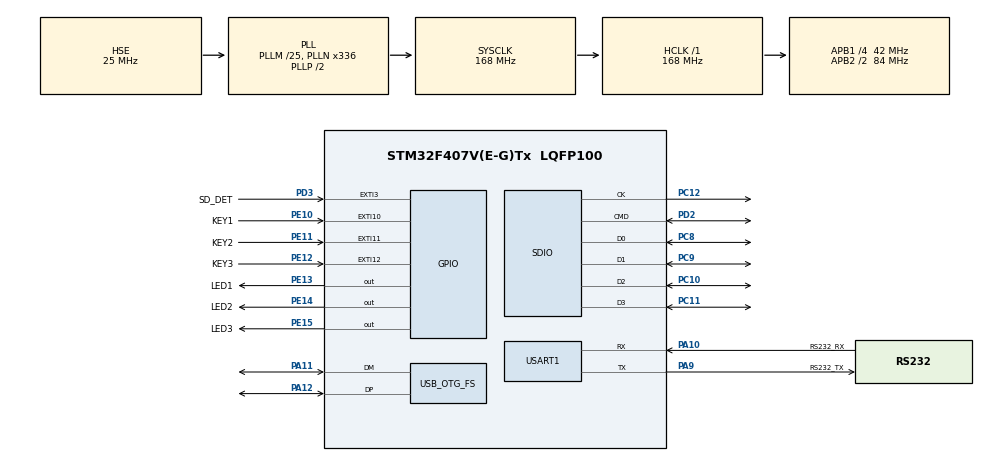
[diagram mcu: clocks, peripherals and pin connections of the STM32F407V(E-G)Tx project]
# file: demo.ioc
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Dma.Request0=USART1_RX
Dma.Request1=USART1_TX
Dma.USART1_RX.0.Direction=DMA_PERIPH_TO_MEMORY
Dma.USART1_RX.0.FIFOMode=DMA_FIFOMODE_DISABLE
Dma.USART1_RX.0.Instance=DMA2_Stream5
Dma.USART1_RX.0.MemDataAlignment=DMA_MDATAALIGN_BYTE
Dma.USART1_RX.0.MemInc=DMA_MINC_ENABLE
Dma.USART1_RX.0.Mode=DMA_CIRCULAR
Dma.USART1_RX.0.PeriphDataAlignment=DMA_PDATAALIGN_BYTE
Dma.USART1_RX.0.PeriphInc=DMA_PINC_DISABLE
Dma.USART1_RX.0.Priority=DMA_PRIORITY_LOW
Dma.USART1_TX.1.Direction=DMA_MEMORY_TO_PERIPH
Dma.USART1_TX.1.FIFOMode=DMA_FIFOMODE_DISABLE
Dma.USART1_TX.1.Instance=DMA2_Stream7
Dma.USART1_TX.1.MemDataAlignment=DMA_MDATAALIGN_BYTE
Dma.USART1_TX.1.MemInc=DMA_MINC_ENABLE
Dma.USART1_TX.1.Mode=DMA_NORMAL
Dma.USART1_TX.1.PeriphDataAlignment=DMA_PDATAALIGN_BYTE
Dma.USART1_TX.1.PeriphInc=DMA_PINC_DISABLE
Dma.USART1_TX.1.Priority=DMA_PRIORITY_LOW
FATFS.USE_DMA_CODE_SD=0
FATFS._FS_LOCK=0
FATFS._FS_RPATH=2
FATFS._USE_STRFUNC=2
Mcu.Family=STM32F4
Mcu.Name=STM32F407V(E-G)Tx
Mcu.Package=LQFP100
NVIC.DMA2_Stream5_IRQn=true\:0\:0\:false\:false\:true\:false\:true\:true
NVIC.DMA2_Stream7_IRQn=true\:0\:0\:false\:false\:true\:false\:true\:true
NVIC.OTG_FS_IRQn=true\:0\:0\:false\:false\:true\:false\:true\:true
NVIC.PriorityGroup=NVIC_PRIORITYGROUP_4
NVIC.USART1_IRQn=true\:0\:0\:false\:false\:true\:true\:true\:true
PA10.GPIO_Label=RS232_RX
PA10.Mode=Asynchronous
PA10.Signal=USART1_RX
PA11.Mode=Device_Only
PA11.Signal=USB_OTG_FS_DM
PA12.Mode=Device_Only
PA12.Signal=USB_OTG_FS_DP
PA13.Mode=Serial_Wire
PA13.Signal=SYS_JTMS-SWDIO
PA14.Mode=Serial_Wire
PA14.Signal=SYS_JTCK-SWCLK
PA9.GPIO_Label=RS232_TX
PA9.Mode=Asynchronous
PA9.Signal=USART1_TX
PC10.GPIO_Mode=GPIO_MODE_AF_PP
PC10.GPIO_PuPd=GPIO_PULLUP
PC10.GPIO_Speed_High_Default=GPIO_SPEED_FREQ_VERY_HIGH
PC10.Mode=SD_4_bits_Wide_bus
PC10.Signal=SDIO_D2
PC11.GPIO_Mode=GPIO_MODE_AF_PP
PC11.GPIO_PuPd=GPIO_PULLUP
PC11.GPIO_Speed_High_Default=GPIO_SPEED_FREQ_VERY_HIGH
PC11.Mode=SD_4_bits_Wide_bus
PC11.Signal=SDIO_D3
PC12.GPIO_Mode=GPIO_MODE_AF_PP
PC12.GPIO_PuPd=GPIO_PULLUP
PC12.GPIO_Speed_High_Default=GPIO_SPEED_FREQ_VERY_HIGH
PC12.Mode=SD_4_bits_Wide_bus
PC12.Signal=SDIO_CK
PC8.GPIO_Mode=GPIO_MODE_AF_PP
PC8.GPIO_PuPd=GPIO_PULLUP
PC8.GPIO_Speed_High_Default=GPIO_SPEED_FREQ_VERY_HIGH
PC8.Mode=SD_4_bits_Wide_bus
PC8.Signal=SDIO_D0
PC9.GPIO_Mode=GPIO_MODE_AF_PP
PC9.GPIO_PuPd=GPIO_PULLUP
PC9.GPIO_Speed_High_Default=GPIO_SPEED_FREQ_VERY_HIGH
PC9.Mode=SD_4_bits_Wide_bus
PC9.Signal=SDIO_D1
PD2.GPIO_Mode=GPIO_MODE_AF_PP
PD2.GPIO_PuPd=GPIO_PULLUP
PD2.GPIO_Speed_High_Default=GPIO_SPEED_FREQ_VERY_HIGH
PD2.Mode=SD_4_bits_Wide_bus
PD2.Signal=SDIO_CMD
PD3.GPIO_Label=SD_DET
PD3.Signal=GPXTI3
PE10.GPIO_Label=KEY1
PE10.GPIO_PuPd=GPIO_PULLUP
PE10.Signal=GPXTI10
PE11.GPIO_Label=KEY2
PE11.GPIO_PuPd=GPIO_PULLUP
PE11.Signal=GPXTI11
PE12.GPIO_Label=KEY3
PE12.GPIO_PuPd=GPIO_PULLUP
PE12.Signal=GPXTI12
PE13.GPIO_Label=LED1
PE13.GPIO_ModeDefaultOutputPP=GPIO_MODE_OUTPUT_PP
PE13.GPIO_PuPd=GPIO_PULLUP
PE13.GPIO_Speed=GPIO_SPEED_FREQ_HIGH
PE13.PinState=GPIO_PIN_SET
PE13.Signal=GPIO_Output
PE14.GPIO_Label=LED2
PE14.GPIO_ModeDefaultOutputPP=GPIO_MODE_OUTPUT_PP
PE14.GPIO_PuPd=GPIO_PULLUP
PE14.GPIO_Speed=GPIO_SPEED_FREQ_HIGH
PE14.PinState=GPIO_PIN_SET
PE14.Signal=GPIO_Output
PE15.GPIO_Label=LED3
PE15.GPIO_ModeDefaultOutputPP=GPIO_MODE_OUTPUT_PP
PE15.GPIO_PuPd=GPIO_PULLUP
PE15.GPIO_Speed=GPIO_SPEED_FREQ_HIGH
PE15.PinState=GPIO_PIN_SET
PE15.Signal=GPIO_Output
PH0-OSC_IN.Mode=HSE-External-Oscillator
PH0-OSC_IN.Signal=RCC_OSC_IN
PH1-OSC_OUT.Mode=HSE-External-Oscillator
PH1-OSC_OUT.Signal=RCC_OSC_OUT
ProjectManager.HeapSize=0x200
ProjectManager.StackSize=0x400
ProjectManager.TargetToolchain=MDK-ARM V5
RCC.48MHZClocksFreq_Value=48000000
RCC.AHBFreq_Value=168000000
RCC.APB1CLKDivider=RCC_HCLK_DIV4
RCC.APB1Freq_Value=42000000
RCC.APB1TimFreq_Value=84000000
RCC.APB2CLKDivider=RCC_HCLK_DIV2
RCC.APB2Freq_Value=84000000
RCC.APB2TimFreq_Value=168000000
RCC.CortexFreq_Value=168000000
RCC.HCLKFreq_Value=168000000
RCC.HSE_VALUE=25000000
RCC.HSI_VALUE=16000000
RCC.LSE_VALUE=32768
RCC.PLLM=25
RCC.PLLN=336
RCC.PLLQ=7
RCC.SYSCLKFreq_VALUE=168000000
RCC.SYSCLKSource=RCC_SYSCLKSOURCE_PLLCLK
RCC.VCOOutputFreq_Value=336000000
SDIO.ClockDiv=84
USART1.VirtualMode=VM_ASYNC
USB_DEVICE.CLASS_NAME_FS=MSC
USB_DEVICE.VirtualMode-MSC_FS=Msc
USB_DEVICE.VirtualModeFS=Msc_FS
USB_OTG_FS.VirtualMode=Device_Only
USB_OTG_FS.lpm_enable=DISABLE
VP_FATFS_VS_SDIO.Mode=SDIO
VP_USB_DEVICE_VS_USB_DEVICE_MSC_FS.Mode=MSC_FS
board=custom

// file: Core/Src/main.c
/* USER CODE BEGIN Header */
/**
 ******************************************************************************
 * @file           : main.c
 * @brief          : Main program body
 ******************************************************************************
 * @attention
 *
 * Copyright (c) 2023 STMicroelectronics.
 * All rights reserved.
 *
 * This software is licensed under terms that can be found in the LICENSE file
 * in the root directory of this software component.
 * If no LICENSE file comes with this software, it is provided AS-IS.
 *
 ******************************************************************************
 */
/* USER CODE END Header */
#include "main.h"
#include "fatfs.h"
#include "usb_device.h"

/* USER CODE BEGIN Includes */
#include "lua/api.h"
#include "stdbool.h"
/* USER CODE END Includes */

SD_HandleTypeDef hsd;

UART_HandleTypeDef huart1;
DMA_HandleTypeDef  hdma_usart1_rx;
DMA_HandleTypeDef  hdma_usart1_tx;

void        SystemClock_Config(void);
static void MX_GPIO_Init(void);
static void MX_DMA_Init(void);
static void MX_USART1_UART_Init(void);
static void MX_SDIO_SD_Init(void);

/* USER CODE BEGIN 0 */

const char lua_test[] = {
    "t_off = 500\n"
    "t_on = 500\n"
    "while 1 do\n"
    " led_on()\n"
    " sleep(t_on)\n"
    " led_off()\n"
    " sleep(t_off)\n"
    " print(\".\")\n"
    "end"};

void lua_run(void)
{
    lua_State* L;
    L = luaL_newstate();
    if (L == NULL)
    {
        printf("ERR");
        while (1) {};
    }
    luaopen_base(L);
    luaL_setfuncs(L, luaLib, 0);
    luaL_dostring(L, lua_test);
    lua_close(L);

    // luaL_dofile();
}

#include "fatfs.h"

FATFS    fs;
FATFS*   pfs;
FIL      fil;
FRESULT  fres;
DWORD    fre_clust;
uint32_t totalSpace, freeSpace;
char     buffer[100];

void SD_Error_Handler(char* file, int line)
{
    printf("%s:%d\r\n", file, line);
    while (1) {}
}

/**
 * @brief
 *
 * @param path the directory to be scanned
 * @param depth recursively searching sub-directory
 *
 */
FRESULT EnumFiles(char* path, uint8_t depth)
{
    FRESULT res;
    DIR     dir;
    UINT    i;

    static FILINFO fno;

    static char    cur_path[128];  // buffer
    static uint8_t cur_depth = 0;

    if (cur_depth == 0)
    {
        strcpy(cur_path, path);
    }

    /* Open the directory */
    res = f_opendir(&dir, cur_path);

    if (res == FR_OK)
    {
        for (;;)
        {
            /* Read a directory item */
            res = f_readdir(&dir, &fno);

            if (res != FR_OK || fno.fname[0] == 0)
            {
                /* Break on error or end of dir */
                break;
            }

            if (fno.fattrib & AM_DIR)
            {
                /* It is a directory */
                i = strlen(cur_path);
                sprintf(&cur_path[i], "/%s", fno.fname);

                if (cur_depth < depth)
                {
                    cur_depth++;

                    /* Enter the directory */
                    res = EnumFiles("", depth);

                    cur_depth--;

                    if (res != FR_OK)
                    {
                        break;
                    }
                }

                cur_path[i] = 0;
            }
            else
            {
                /* It is a file */
                printf("%s/%s %u\r\n", cur_path, fno.fname, fno.fsize);
            }
        }

        f_closedir(&dir);
    }
#if 0
    else
    {
        printf("err");
    }
#endif

    return res;
}

void SDTst()
{
    if (f_mount(&fs, "", 0) != FR_OK)
    {
        SD_Error_Handler(__FILE__, __LINE__);
    }

    /* Check freeSpace space */
    if (f_getfree("", &fre_clust, &pfs) != FR_OK)
    {
        SD_Error_Handler(__FILE__, __LINE__);
    }

    totalSpace = (uint32_t)((pfs->n_fatent - 2) * pfs->csize * 0.5);
    freeSpace  = (uint32_t)(fre_clust * pfs->csize * 0.5);

    printf("free space: %.2f MB\r\n", freeSpace / 1024.f);
    printf("total space: %.2f MB\r\n", totalSpace / 1024.f);

    /* free space is less than 1kb */
    if (freeSpace < 1)
    {
        SD_Error_Handler(__FILE__, __LINE__);
    }

    //	scan_files("/");

    /* Open file to write */

    if (f_open(&fil, "first.txt", FA_OPEN_ALWAYS | FA_READ | FA_WRITE) != FR_OK)
    {
        SD_Error_Handler(__FILE__, __LINE__);
    }

    /* Writing text */
    f_puts("STM32 SD Card I/O Example via SDIO\n", &fil);
    f_puts("Save OK!!!", &fil);

    /* Close file */
    if (f_close(&fil) != FR_OK)
    {
        SD_Error_Handler(__FILE__, __LINE__);
    }

    /* Open file to read */
    if (f_open(&fil, "first.txt", FA_READ) != FR_OK)
    {
        SD_Error_Handler(__FILE__, __LINE__);
    }

    while (f_gets(buffer, sizeof(buffer), &fil))
    {
        /* SWV output */
        printf("%s", buffer);
        fflush(stdout);
    }

    /* Close file */
    if (f_close(&fil) != FR_OK)
    {
        SD_Error_Handler(__FILE__, __LINE__);
    }

    /* scan file in dir*/

    // https://blog.csdn.net/unsv29/article/details/83301615
    // 这里吧 fafts 的 lock 从 2 改为 0 了，要不然有些地方搜索不到, 报错误 FR_TOO_MANY_OPEN_FILES

    printf("\r\n[scan]:\r\n");
    EnumFiles("0:", 3);

    printf("\r\n[scan]:\r\n");
    EnumFiles("0:", 2);

    printf("\r\n[scan]:\r\n");
    EnumFiles("0:", 3);

    printf("\r\n[scan]:\r\n");
    EnumFiles("0:/dir", 1);

    /* Unmount SDCARD */
    //    if (f_mount(NULL, "", 1) != FR_OK)
    //        SD_Error_Handler(__FILE__, __LINE__);
}

/* USER CODE END 0 */

int main(void)
{

    /* MCU Configuration--------------------------------------------------------*/

    /* Reset of all peripherals, Initializes the Flash interface and the Systick. */
    HAL_Init();

    /* Configure the system clock */
    SystemClock_Config();

    /* Initialize all configured peripherals */
    MX_GPIO_Init();
    MX_DMA_Init();
    MX_USART1_UART_Init();
    MX_USB_DEVICE_Init();
    MX_SDIO_SD_Init();
    MX_FATFS_Init();
    /* USER CODE BEGIN 2 */
    SDTst();
    //  lua_run();
    /* USER CODE END 2 */

    /* Infinite loop */
    while (1)
    {

    }
}

void SystemClock_Config(void)
{
    RCC_OscInitTypeDef RCC_OscInitStruct = {0};
    RCC_ClkInitTypeDef RCC_ClkInitStruct = {0};

    /** Configure the main internal regulator output voltage
     */
    __HAL_RCC_PWR_CLK_ENABLE();
    __HAL_PWR_VOLTAGESCALING_CONFIG(PWR_REGULATOR_VOLTAGE_SCALE1);

    /** Initializes the RCC Oscillators according to the specified parameters
     * in the RCC_OscInitTypeDef structure.
     */
    RCC_OscInitStruct.OscillatorType = RCC_OSCILLATORTYPE_HSE;
    RCC_OscInitStruct.HSEState       = RCC_HSE_ON;
    RCC_OscInitStruct.PLL.PLLState   = RCC_PLL_ON;
    RCC_OscInitStruct.PLL.PLLSource  = RCC_PLLSOURCE_HSE;
    RCC_OscInitStruct.PLL.PLLM       = 25;
    RCC_OscInitStruct.PLL.PLLN       = 336;
    RCC_OscInitStruct.PLL.PLLP       = RCC_PLLP_DIV2;
    RCC_OscInitStruct.PLL.PLLQ       = 7;
    if (HAL_RCC_OscConfig(&RCC_OscInitStruct) != HAL_OK)
    {
        Error_Handler();
    }

    /** Initializes the CPU, AHB and APB buses clocks
     */
    RCC_ClkInitStruct.ClockType      = RCC_CLOCKTYPE_HCLK | RCC_CLOCKTYPE_SYSCLK | RCC_CLOCKTYPE_PCLK1 | RCC_CLOCKTYPE_PCLK2;
    RCC_ClkInitStruct.SYSCLKSource   = RCC_SYSCLKSOURCE_PLLCLK;
    RCC_ClkInitStruct.AHBCLKDivider  = RCC_SYSCLK_DIV1;
    RCC_ClkInitStruct.APB1CLKDivider = RCC_HCLK_DIV4;
    RCC_ClkInitStruct.APB2CLKDivider = RCC_HCLK_DIV2;

    if (HAL_RCC_ClockConfig(&RCC_ClkInitStruct, FLASH_LATENCY_5) != HAL_OK)
    {
        Error_Handler();
    }
}

static void MX_SDIO_SD_Init(void)
{

    hsd.Instance                 = SDIO;
    hsd.Init.ClockEdge           = SDIO_CLOCK_EDGE_RISING;
    hsd.Init.ClockBypass         = SDIO_CLOCK_BYPASS_DISABLE;
    hsd.Init.ClockPowerSave      = SDIO_CLOCK_POWER_SAVE_DISABLE;
    hsd.Init.BusWide             = SDIO_BUS_WIDE_1B;
    hsd.Init.HardwareFlowControl = SDIO_HARDWARE_FLOW_CONTROL_DISABLE;
    hsd.Init.ClockDiv            = 84;
}

static void MX_USART1_UART_Init(void)
{

    huart1.Instance          = USART1;
    huart1.Init.BaudRate     = 115200;
    huart1.Init.WordLength   = UART_WORDLENGTH_8B;
    huart1.Init.StopBits     = UART_STOPBITS_1;
    huart1.Init.Parity       = UART_PARITY_NONE;
    huart1.Init.Mode         = UART_MODE_TX_RX;
    huart1.Init.HwFlowCtl    = UART_HWCONTROL_NONE;
    huart1.Init.OverSampling = UART_OVERSAMPLING_16;
    if (HAL_UART_Init(&huart1) != HAL_OK)
    {
        Error_Handler();
    }
}

static void MX_DMA_Init(void)
{
    /* DMA controller clock enable */
    __HAL_RCC_DMA2_CLK_ENABLE();

    /* DMA interrupt init */
    /* DMA2_Stream5_IRQn interrupt configuration */
    HAL_NVIC_SetPriority(DMA2_Stream5_IRQn, 0, 0);
    HAL_NVIC_EnableIRQ(DMA2_Stream5_IRQn);
    /* DMA2_Stream7_IRQn interrupt configuration */
    HAL_NVIC_SetPriority(DMA2_Stream7_IRQn, 0, 0);
    HAL_NVIC_EnableIRQ(DMA2_Stream7_IRQn);
}

static void MX_GPIO_Init(void)
{
    GPIO_InitTypeDef GPIO_InitStruct = {0};

    /* GPIO Ports Clock Enable */
    __HAL_RCC_GPIOH_CLK_ENABLE();
    __HAL_RCC_GPIOE_CLK_ENABLE();
    __HAL_RCC_GPIOC_CLK_ENABLE();
    __HAL_RCC_GPIOA_CLK_ENABLE();
    __HAL_RCC_GPIOD_CLK_ENABLE();

    /*Configure GPIO pin Output Level */
    HAL_GPIO_WritePin(GPIOE, LED1_Pin | LED2_Pin | LED3_Pin, GPIO_PIN_SET);

    /*Configure GPIO pins : KEY1_Pin KEY2_Pin KEY3_Pin */
    GPIO_InitStruct.Pin  = KEY1_Pin | KEY2_Pin | KEY3_Pin;
    GPIO_InitStruct.Mode = GPIO_MODE_IT_RISING;
    GPIO_InitStruct.Pull = GPIO_PULLUP;
    HAL_GPIO_Init(GPIOE, &GPIO_InitStruct);

    /*Configure GPIO pins : LED1_Pin LED2_Pin LED3_Pin */
    GPIO_InitStruct.Pin   = LED1_Pin | LED2_Pin | LED3_Pin;
    GPIO_InitStruct.Mode  = GPIO_MODE_OUTPUT_PP;
    GPIO_InitStruct.Pull  = GPIO_PULLUP;
    GPIO_InitStruct.Speed = GPIO_SPEED_FREQ_HIGH;
    HAL_GPIO_Init(GPIOE, &GPIO_InitStruct);

    /*Configure GPIO pin : SD_DET_Pin */
    GPIO_InitStruct.Pin  = SD_DET_Pin;
    GPIO_InitStruct.Mode = GPIO_MODE_IT_RISING;
    GPIO_InitStruct.Pull = GPIO_NOPULL;
    HAL_GPIO_Init(SD_DET_GPIO_Port, &GPIO_InitStruct);
}

void Error_Handler(void)
{
    __disable_irq();
    while (1)
    {
    }
}
